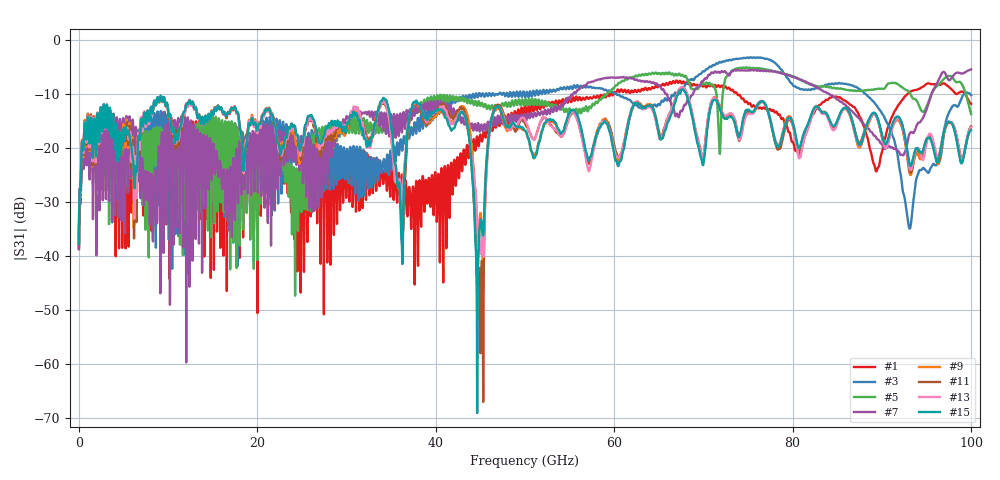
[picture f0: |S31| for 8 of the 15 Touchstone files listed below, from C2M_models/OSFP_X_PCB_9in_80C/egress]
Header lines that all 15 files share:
# GHz S RI R 45
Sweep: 25 MHz to 100 GHz
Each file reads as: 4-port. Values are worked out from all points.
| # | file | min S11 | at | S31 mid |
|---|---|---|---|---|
| 1 | C2M_X_OSFP224_9in_host_PCB_80C_FEXT_TP0_Tx1_to_TP1a_Tx7.s4p | -56.6 dB | 35.08 GHz | -12.2 dB at 50.02 GHz |
| 2 | C2M_X_OSFP224_9in_host_PCB_80C_FEXT_TP0_Tx2_to_TP1a_Tx7.s4p | -53.8 dB | 31.88 GHz | -13.1 dB at 50.02 GHz |
| 3 | C2M_X_OSFP224_9in_host_PCB_80C_FEXT_TP0_Tx3_to_TP1a_Tx7.s4p | -54.5 dB | 10.1 GHz | -10.6 dB at 50.02 GHz |
| 4 | C2M_X_OSFP224_9in_host_PCB_80C_FEXT_TP0_Tx4_to_TP1a_Tx7.s4p | -45.8 dB | 10.5 GHz | -10.4 dB at 50.02 GHz |
| 5 | C2M_X_OSFP224_9in_host_PCB_80C_FEXT_TP0_Tx5_to_TP1a_Tx7.s4p | -54.7 dB | 11 GHz | -11.0 dB at 50.02 GHz |
| 6 | C2M_X_OSFP224_9in_host_PCB_80C_FEXT_TP0_Tx6_to_TP1a_Tx7.s4p | -44.5 dB | 19.2 GHz | -11.4 dB at 50.02 GHz |
| 7 | C2M_X_OSFP224_9in_host_PCB_80C_FEXT_TP0_Tx8_to_TP1a_Tx7.s4p | -50.3 dB | 98.65 GHz | -14.0 dB at 50.02 GHz |
| 8 | C2M_X_OSFP224_9in_host_PCB_80C_NEXT_TP1a_Rx1_to_TP1a_Tx7.s4p | -48.5 dB | 8.85 GHz | -15.2 dB at 50.02 GHz |
| 9 | C2M_X_OSFP224_9in_host_PCB_80C_NEXT_TP1a_Rx2_to_TP1a_Tx7.s4p | -47.1 dB | 43.33 GHz | -16.8 dB at 50.02 GHz |
| 10 | C2M_X_OSFP224_9in_host_PCB_80C_NEXT_TP1a_Rx3_to_TP1a_Tx7.s4p | -50.9 dB | 45.4 GHz | -13.5 dB at 50.02 GHz |
| 11 | C2M_X_OSFP224_9in_host_PCB_80C_NEXT_TP1a_Rx4_to_TP1a_Tx7.s4p | -42.6 dB | 27.75 GHz | -15.4 dB at 50.02 GHz |
| 12 | C2M_X_OSFP224_9in_host_PCB_80C_NEXT_TP1a_Rx5_to_TP1a_Tx7.s4p | -54.9 dB | 45.27 GHz | -13.5 dB at 50.02 GHz |
| 13 | C2M_X_OSFP224_9in_host_PCB_80C_NEXT_TP1a_Rx6_to_TP1a_Tx7.s4p | -41.2 dB | 6.25 GHz | -14.9 dB at 50.02 GHz |
| 14 | C2M_X_OSFP224_9in_host_PCB_80C_NEXT_TP1a_Rx7_to_TP1a_Tx7.s4p | -44.2 dB | 33.98 GHz | -14.3 dB at 50.02 GHz |
| 15 | C2M_X_OSFP224_9in_host_PCB_80C_NEXT_TP1a_Rx8_to_TP1a_Tx7.s4p | -36.2 dB | 6.275 GHz | -16.7 dB at 50.02 GHz |
